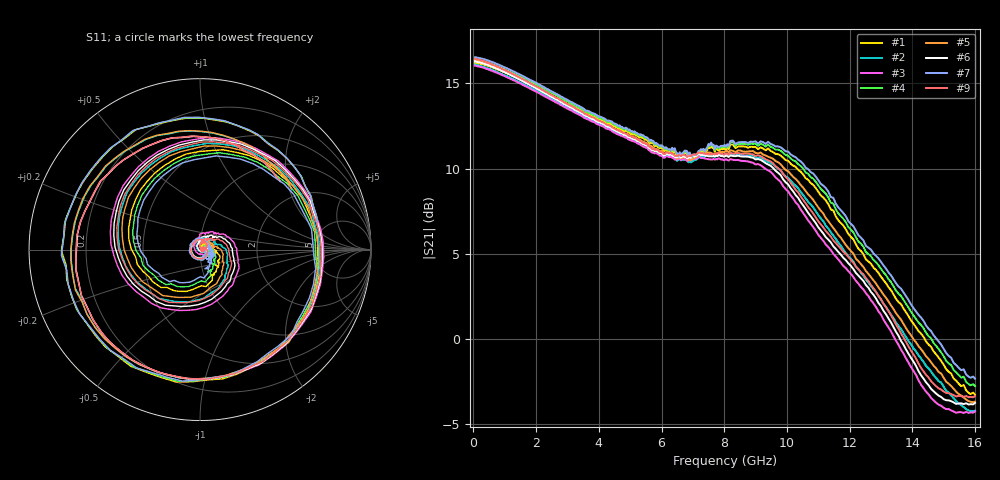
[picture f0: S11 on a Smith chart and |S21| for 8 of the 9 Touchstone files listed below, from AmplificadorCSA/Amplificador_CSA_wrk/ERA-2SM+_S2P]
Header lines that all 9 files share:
! Mini-Circuits
! S2P DATA File Format
! Type: MMIC Amplifier
! Model: ERA-2SM  Reference Data:RDF-874AA
! Note: All S Parameters are in dB deg format
! 401 Frequency points
# MHz S DB R 50
!  FREQ  dB(S11)  PHS(S11)  dB(S21)  PHS(S21)  dB(S12)  PHS(S12)  dB(S22)  PHS(S22)
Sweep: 50 MHz to 16 GHz
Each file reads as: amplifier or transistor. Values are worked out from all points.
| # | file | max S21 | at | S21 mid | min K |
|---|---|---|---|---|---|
| 1 | ERA-2SM+___32mA___Minus45degC.S2P | 16.2 dB | 50 MHz | 12.8 dB at 4.1 GHz | 0.06 |
| 2 | ERA-2SM+___32mA___Plus25degC.S2P | 16.1 dB | 50 MHz | 12.6 dB at 4.1 GHz | 0.29 |
| 3 | ERA-2SM+___32mA___Plus85degC.S2P | 16.0 dB | 50 MHz | 12.5 dB at 4.1 GHz | 0.38 |
| 4 | ERA-2SM+___40mA___Minus45degC.S2P | 16.4 dB | 50 MHz | 12.9 dB at 4.1 GHz | 0.04 |
| 5 | ERA-2SM+___40mA___Plus25degC.S2P | 16.3 dB | 50 MHz | 12.7 dB at 4.1 GHz | 0.26 |
| 6 | ERA-2SM+___40mA___Plus85degC.S2P | 16.3 dB | 70 MHz | 12.6 dB at 4.1 GHz | 0.36 |
| 7 | ERA-2SM+___48mA___Minus45degC.S2P | 16.5 dB | 70 MHz | 13.0 dB at 4.1 GHz | 0.02 |
| 8 | ERA-2SM+___48mA___Plus25degC.S2P | 16.5 dB | 50 MHz | 12.8 dB at 4.1 GHz | 0.24 |
| 9 | ERA-2SM+___48mA___Plus85degC.S2P | 16.4 dB | 50 MHz | 12.7 dB at 4.1 GHz | 0.35 |
